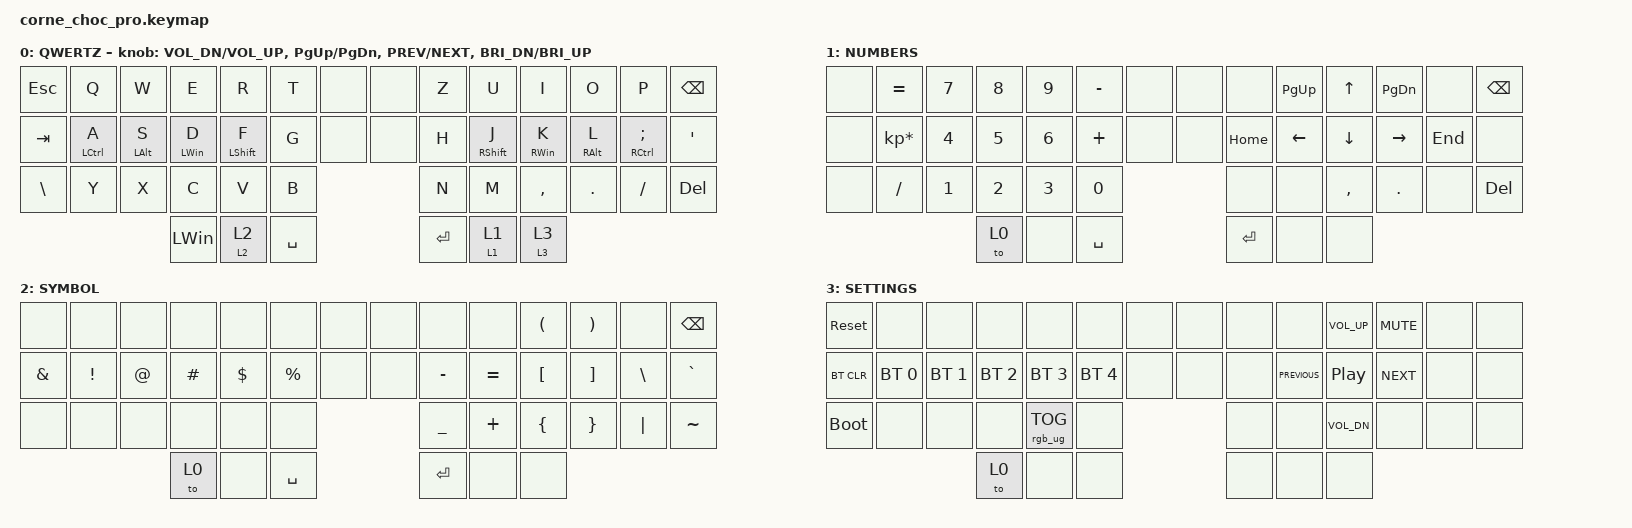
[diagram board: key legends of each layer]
/*
 * Copyright (c) 2020 The ZMK Contributors
 *
 * SPDX-License-Identifier: MIT
 */

#include <behaviors.dtsi>
#include <dt-bindings/zmk/keys.h>
#include <dt-bindings/zmk/bt.h>
#include <dt-bindings/zmk/rgb.h>

/ {
    chosen {
        zmk,physical-layout = &default_layout;
    };
};

/ {
    behaviors {
        HM: HM {
            compatible = "zmk,behavior-hold-tap";
            label = "HM";
            bindings = <&kp>, <&kp>;
            #binding-cells = <2>;
            tapping-term-ms = <400>;
            quick-tap-ms = <400>;
            require-prior-idle-ms = <400>;
            flavor = "balanced";
        };

        HL: HL {
            compatible = "zmk,behavior-hold-tap";
            label = "HL";
            bindings = <&mo>, <&tog>;
            #binding-cells = <2>;
            tapping-term-ms = <400>;
            quick-tap-ms = <400>;
            require-prior-idle-ms = <400>;
            flavor = "balanced";
        };
    };

    keymap {
        compatible = "zmk,keymap";

        default_layer {
            display-name = "QWERTZ";
            bindings = <
                &kp ESC        &kp Q        &kp W           &kp E           &kp R         &kp T     &none   &none &kp Z    &kp U              &kp I            &kp O            &kp P           &kp BSPC
                &kp TAB        &HM LCTRL A  &HM LEFT_ALT S  &HM LEFT_WIN D  &HM LSHIFT F  &kp G     &none   &none &kp H    &HM RIGHT_SHIFT J  &HM RIGHT_WIN K  &HM RIGHT_ALT L  &HM RCTRL SEMI  &kp SQT
                &kp BACKSLASH  &kp Y        &kp X           &kp C           &kp V         &kp B                   &kp N    &kp M              &kp COMMA        &kp DOT          &kp FSLH        &kp DEL
                                                            &kp LEFT_WIN    &HL 2 2       &kp SPACE               &kp RET  &HL 1 1            &HL 3 3
            >;
            sensor-bindings = <&inc_dec_kp C_VOL_DN C_VOL_UP &inc_dec_kp PG_UP PG_DN &inc_dec_kp C_PREV C_NEXT &inc_dec_kp C_BRI_DN C_BRI_UP>;
        };

        lower_layer {
            display-name = "NUMBERS";
             bindings = <
                &none        &kp EQUAL        &kp N7        &kp N8        &kp NUMBER_9  &kp MINUS     &none   &none &none     &kp PAGE_UP    &kp UP_ARROW    &kp PAGE_DOWN  &none         &kp BSPC
                &none        &kp KP_MULTIPLY  &kp NUMBER_4  &kp N5        &kp NUMBER_6  &kp PLUS      &none   &none &kp HOME  &kp LEFT       &kp DOWN_ARROW  &kp RIGHT      &kp END       &none
                &none        &kp SLASH        &kp NUMBER_1  &kp NUMBER_2  &kp NUMBER_3  &kp NUMBER_0                 &none   &none            &kp COMMA        &kp DOT        &none         &kp DEL
                                                                    &to 0         &none         &kp SPACE               &kp RET     &none             &none
            >;
        };

        raise_layer {
            display-name = "SYMBOL";
            bindings = <
                &none     &none     &none     &none     &none       &none     &none   &none &none     &none     &kp LPAR  &kp RPAR  &none     &kp BSPC
                &kp AMPS  &kp EXCL  &kp AT    &kp HASH  &kp DOLLAR  &kp PERCENT &none   &none &kp MINUS  &kp EQUAL  &kp LBKT  &kp RBKT  &kp BSLH  &kp GRAVE
                &none     &none     &none     &none     &none       &none               &kp UNDER  &kp PLUS   &kp LBRC  &kp RBRC  &kp PIPE  &kp TILDE
                                                  &to 0     &none     &kp SPACE               &kp RET    &none     &none
            >;
        };

        extra_layer_1 {
            display-name = "SETTINGS";
            bindings = <
                &sys_reset     &none         &none         &none         &none         &none         &none   &none &none     &none            &kp C_VOLUME_UP  &kp C_MUTE    &none   &none
                &bt BT_CLR     &bt BT_SEL 0  &bt BT_SEL 1  &bt BT_SEL 2  &bt BT_SEL 3  &bt BT_SEL 4  &none   &none &none     &kp C_PREVIOUS   &kp C_PLAY_PAUSE &kp C_NEXT   &none  &none
                &bootloader    &none         &none         &none         &rgb_ug RGB_TOG  &none                      &none     &none          &kp C_VOL_DN   &none   &none  &none
                                                           &to 0         &none         &none                      &none     &none            &none
            >;
        };
    };
};
